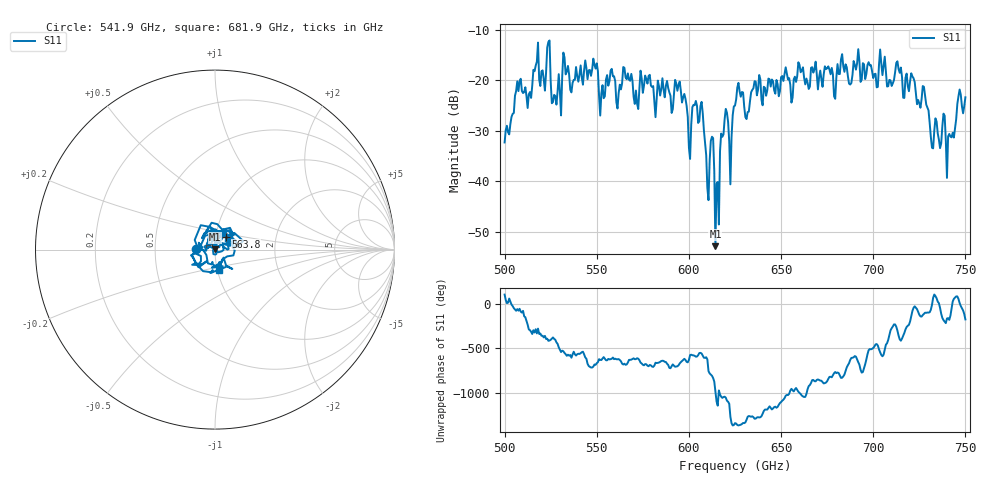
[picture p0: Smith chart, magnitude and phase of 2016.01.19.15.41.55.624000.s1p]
!Created with skrf (http://scikit-rf.org).
# GHz S RI R 50.0
!freq ReS11 ImS11
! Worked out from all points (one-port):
!   401 points, 500 GHz to 750 GHz, reference 50 ohm
!   lowest |S11| = -52.9 dB at 614.4 GHz (marker M1), VSWR 1.00, Z = 50 + j0.226 ohm
!   |S11| at or under -10 dB: start of sweep to end of sweep
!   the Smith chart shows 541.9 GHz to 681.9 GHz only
!   S11 on the Smith chart (normalised r, x): 541.9 GHz: 0.81, +0.01; 563.8 GHz: 1.11, +0.16; 681.9 GHz: 1.01, -0.23
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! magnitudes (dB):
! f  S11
! 500 GHz  -32.3
! 507.5 GHz  -22.1
! 513.8 GHz  -22.3
! 516.9 GHz  -17.1
! 520.6 GHz  -18.0
! 523.8 GHz  -12.4
! 526.9 GHz  -22.9
! 531.2 GHz  -19.3
! 541.9 GHz  -19.5
! 562.5 GHz  -20.9
! 563.8 GHz  -20.6
! 571.2 GHz  -22.0
! 593.8 GHz  -22.1
! 600 GHz  -33.3
! 606.9 GHz  -24.3
! 610 GHz  -41.4
! 612.5 GHz  -31.2
! 614.4 GHz  -52.9
! 615.6 GHz  -40.2
! 618.8 GHz  -30.7
! 622.5 GHz  -40.6
! 625 GHz  -25.0
! 656.2 GHz  -23.4
! 681.9 GHz  -18.8
! 687.5 GHz  -20.8
! 718.8 GHz  -21.2
! 740.6 GHz  -31.1
! 750 GHz  -23.4
